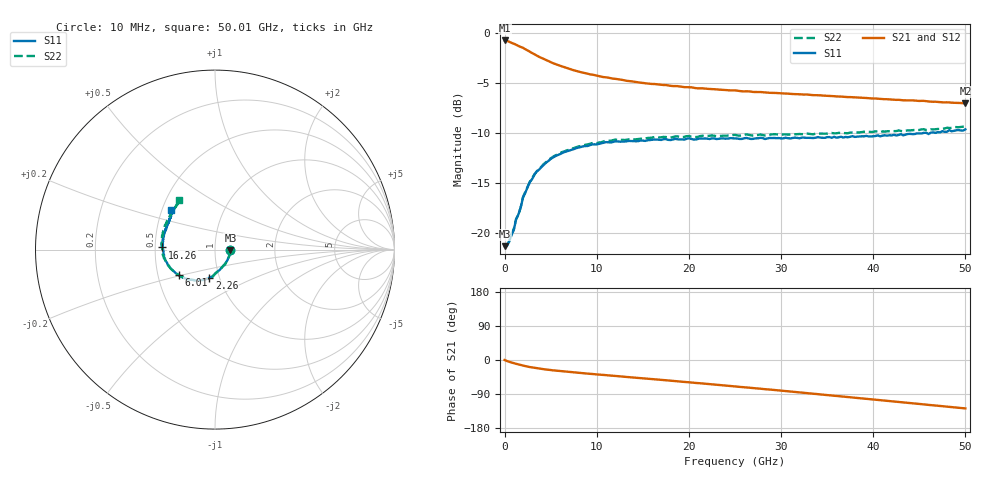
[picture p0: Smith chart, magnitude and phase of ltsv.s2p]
# HZ S DB R 50
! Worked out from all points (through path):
!   201 points, 10 MHz to 50.01 GHz, reference 50 ohm
!   highest |S21| = -0.76 dB at 10 MHz (marker M1); lowest = -7.0 dB at 50.01 GHz (marker M2)
!   group delay of S21, straight-line fit = 6.36 ps
!   lowest |S11| = -21.3 dB at 10 MHz (marker M3), VSWR 1.19, Z = 59.4 - j0.265 ohm
!   |S11| at or under -10 dB: start of sweep to 45.5 GHz; 45.78 GHz to 46.23 GHz (451.2 MHz wide, 0.981 % of centre); 46.7451 GHz to 46.77299 GHz (27.89 MHz wide, 0.0596 % of centre)
!   |S22| runs from -21.3 to -9.3 dB; largest |S21 - S12| = 0.007
!   S11 on the Smith chart (normalised r, x): 10 MHz: 1.19, -0.01; 2.26 GHz: 0.90, -0.29; 6.01 GHz: 0.64, -0.19; 16.26 GHz: 0.55, +0.01; 50.01 GHz: 0.56, +0.28
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1e7  -21.33 -1.5  -0.76 -0.0  -0.77 -0.1  -21.27 -2.1
2.6e8  -21.32 -21.5  -0.80 -2.6  -0.80 -2.7  -21.17 -21.1
5.1e8  -20.85 -39.6  -0.89 -4.7  -0.89 -4.7  -20.85 -38.9
1.01e9  -19.70 -66.3  -1.09 -8.4  -1.09 -8.5  -19.59 -66.6
1.26e9  -18.63 -77.4  -1.19 -10.1  -1.19 -10.1  -18.60 -76.9
1.51e9  -18.15 -83.7  -1.31 -11.6  -1.31 -11.7  -18.16 -84.0
1.76e9  -17.44 -89.6  -1.42 -13.1  -1.40 -13.1  -17.44 -89.8
2.01e9  -16.45 -95.3  -1.50 -14.7  -1.49 -14.8  -16.41 -95.1
2.26e9  -15.97 -101.4  -1.64 -16.1  -1.64 -16.2  -15.90 -101.3
2.76e9  -14.92 -110.5  -1.90 -18.7  -1.90 -18.8  -14.87 -110.5
3.51e9  -13.84 -122.3  -2.27 -21.7  -2.27 -21.8  -13.83 -122.6
5.01e9  -12.61 -137.3  -2.93 -26.6  -2.93 -26.7  -12.54 -138.1
6.01e9  -12.13 -145.0  -3.29 -29.2  -3.28 -29.3  -12.04 -146.2
8.51e9  -11.35 -158.5  -3.98 -34.8  -3.97 -35.0  -11.24 -160.4
1.201e10  -10.85 -171.5  -4.60 -42.0  -4.59 -42.3  -10.67 -174.4
1.626e10  -10.67 177.6  -5.12 -50.8  -5.11 -51.1  -10.43 173.9
1.676e10  -10.69 176.3  -5.18 -51.9  -5.17 -52.3  -10.46 172.4
2.501e10  -10.56 161.9  -5.76 -69.7  -5.76 -70.1  -10.20 155.3
3.351e10  -10.52 151.4  -6.23 -89.0  -6.22 -89.6  -10.14 143.2
4.176e10  -10.24 144.0  -6.66 -108.4  -6.65 -109.2  -9.83 133.9
4.601e10  -10.12 140.5  -6.86 -118.5  -6.87 -119.2  -9.67 130.0
5.001e10  -9.65 137.8  -7.05 -127.8  -7.06 -128.6  -9.33 126.3
